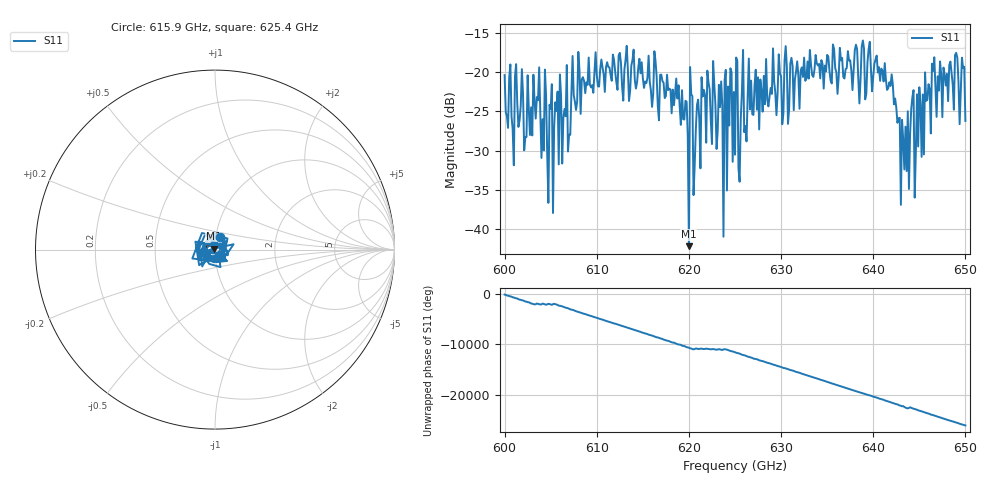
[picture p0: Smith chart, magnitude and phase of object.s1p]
!Created with skrf (http://scikit-rf.org).
# GHz S MA R 50.0
!freq magS11 angS11
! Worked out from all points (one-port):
!   401 points, 600 GHz to 650 GHz, reference 50 ohm
!   lowest |S11| = -42.2 dB at 620 GHz (marker M1), VSWR 1.02, Z = 49.4 + j0.444 ohm
!   |S11| at or under -10 dB: start of sweep to end of sweep
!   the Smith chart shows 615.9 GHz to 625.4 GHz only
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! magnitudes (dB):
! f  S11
! 600 GHz  -20.4
! 602.4 GHz  -28.3
! 603.5 GHz  -23.2
! 605 GHz  -24.7
! 606.2 GHz  -31.7
! 608.2 GHz  -25.3
! 612.5 GHz  -17.6
! 618.8 GHz  -23.4
! 619.5 GHz  -26.1
! 619.8 GHz  -23.8
! 620 GHz  -42.2
! 620.8 GHz  -27.3
! 622 GHz  -19.8
! 623.4 GHz  -24.5
! 623.9 GHz  -21.0
! 624.1 GHz  -35.1
! 625 GHz  -30.5
! 625.5 GHz  -34.0
! 626.6 GHz  -24.8
! 631.2 GHz  -19.2
! 637.5 GHz  -18.5
! 641.1 GHz  -21.2
! 642.2 GHz  -24.1
! 643.1 GHz  -26.1
! 643.8 GHz  -25.0
! 646.6 GHz  -18.1
! 649 GHz  -17.6
! 650 GHz  -26.2
